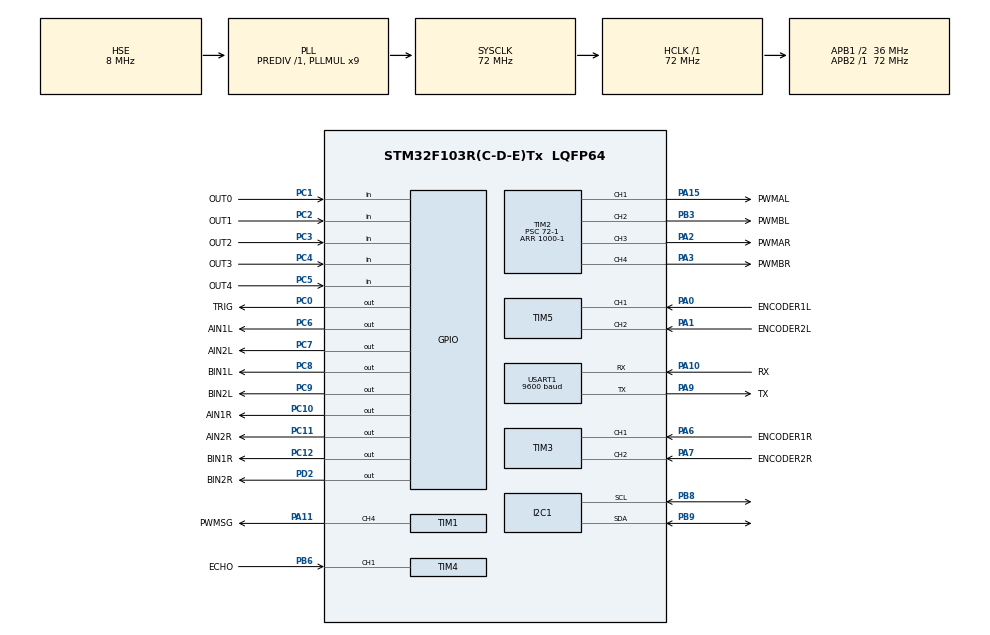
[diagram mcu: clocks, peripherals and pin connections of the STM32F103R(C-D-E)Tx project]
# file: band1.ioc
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Dma.Request0=USART1_TX
Dma.USART1_TX.0.Direction=DMA_MEMORY_TO_PERIPH
Dma.USART1_TX.0.Instance=DMA1_Channel4
Dma.USART1_TX.0.MemDataAlignment=DMA_MDATAALIGN_WORD
Dma.USART1_TX.0.MemInc=DMA_MINC_DISABLE
Dma.USART1_TX.0.Mode=DMA_NORMAL
Dma.USART1_TX.0.PeriphDataAlignment=DMA_PDATAALIGN_WORD
Dma.USART1_TX.0.PeriphInc=DMA_PINC_DISABLE
Dma.USART1_TX.0.Priority=DMA_PRIORITY_LOW
I2C1.I2C_Mode=I2C_Fast
Mcu.Family=STM32F1
Mcu.Name=STM32F103R(C-D-E)Tx
Mcu.Package=LQFP64
NVIC.DMA1_Channel4_IRQn=true\:0\:0\:false\:false\:true\:false\:true\:true
NVIC.PriorityGroup=NVIC_PRIORITYGROUP_4
NVIC.TIM3_IRQn=true\:0\:0\:false\:false\:true\:true\:true\:true
NVIC.TIM4_IRQn=true\:0\:0\:false\:false\:true\:true\:true\:true
NVIC.TIM5_IRQn=true\:0\:0\:false\:false\:true\:true\:true\:true
NVIC.TIM6_IRQn=true\:0\:0\:false\:false\:true\:true\:true\:true
NVIC.TIM7_IRQn=true\:0\:0\:false\:false\:true\:true\:true\:true
NVIC.USART1_IRQn=true\:0\:0\:false\:false\:true\:true\:true\:true
PA0-WKUP.GPIO_Label=ENCODER1L
PA0-WKUP.GPIO_PuPd=GPIO_PULLUP
PA0-WKUP.Signal=S_TIM5_CH1
PA1.GPIO_Label=ENCODER2L
PA1.GPIO_PuPd=GPIO_PULLUP
PA1.Signal=S_TIM5_CH2
PA10.GPIO_Label=RX
PA10.Mode=Asynchronous
PA10.Signal=USART1_RX
PA11.GPIO_Label=PWMSG
PA11.GPIO_Speed=GPIO_SPEED_FREQ_HIGH
PA11.Signal=S_TIM1_CH4
PA13.Mode=Serial_Wire
PA13.Signal=SYS_JTMS-SWDIO
PA14.Mode=Serial_Wire
PA14.Signal=SYS_JTCK-SWCLK
PA15.GPIO_Label=PWMAL
PA15.Signal=S_TIM2_CH1_ETR
PA2.GPIO_Label=PWMAR
PA2.Signal=S_TIM2_CH3
PA3.GPIO_Label=PWMBR
PA3.Signal=S_TIM2_CH4
PA6.GPIO_Label=ENCODER1R
PA6.GPIO_PuPd=GPIO_PULLUP
PA6.Signal=S_TIM3_CH1
PA7.GPIO_Label=ENCODER2R
PA7.GPIO_PuPd=GPIO_PULLUP
PA7.Signal=S_TIM3_CH2
PA9.GPIO_Label=TX
PA9.Mode=Asynchronous
PA9.Signal=USART1_TX
PB3.GPIO_Label=PWMBL
PB3.Signal=S_TIM2_CH2
PB6.GPIO_Label=ECHO
PB6.Signal=S_TIM4_CH1
PB8.Mode=I2C
PB8.Signal=I2C1_SCL
PB9.Mode=I2C
PB9.Signal=I2C1_SDA
PC0.GPIO_Label=TRIG
PC0.GPIO_PuPd=GPIO_PULLDOWN
PC0.GPIO_Speed=GPIO_SPEED_FREQ_HIGH
PC0.PinState=GPIO_PIN_SET
PC0.Signal=GPIO_Output
PC1.GPIO_Label=OUT0
PC1.GPIO_PuPd=GPIO_PULLDOWN
PC1.Signal=GPIO_Input
PC10.GPIO_Label=AIN1R
PC10.GPIO_PuPd=GPIO_PULLDOWN
PC10.Signal=GPIO_Output
PC11.GPIO_Label=AIN2R
PC11.GPIO_PuPd=GPIO_PULLDOWN
PC11.Signal=GPIO_Output
PC12.GPIO_Label=BIN1R
PC12.GPIO_PuPd=GPIO_PULLDOWN
PC12.Signal=GPIO_Output
PC14-OSC32_IN.Mode=LSE-External-Oscillator
PC14-OSC32_IN.Signal=RCC_OSC32_IN
PC15-OSC32_OUT.Mode=LSE-External-Oscillator
PC15-OSC32_OUT.Signal=RCC_OSC32_OUT
PC2.GPIO_Label=OUT1
PC2.GPIO_PuPd=GPIO_PULLDOWN
PC2.Signal=GPIO_Input
PC3.GPIO_Label=OUT2
PC3.GPIO_PuPd=GPIO_PULLDOWN
PC3.Signal=GPIO_Input
PC4.GPIO_Label=OUT3
PC4.GPIO_PuPd=GPIO_PULLDOWN
PC4.Signal=GPIO_Input
PC5.GPIO_Label=OUT4
PC5.GPIO_PuPd=GPIO_PULLDOWN
PC5.Signal=GPIO_Input
PC6.GPIO_Label=AIN1L
PC6.GPIO_PuPd=GPIO_PULLDOWN
PC6.Signal=GPIO_Output
PC7.GPIO_Label=AIN2L
PC7.GPIO_PuPd=GPIO_PULLDOWN
PC7.Signal=GPIO_Output
PC8.GPIO_Label=BIN1L
PC8.GPIO_PuPd=GPIO_PULLDOWN
PC8.Signal=GPIO_Output
PC9.GPIO_Label=BIN2L
PC9.GPIO_PuPd=GPIO_PULLDOWN
PC9.Signal=GPIO_Output
PD0-OSC_IN.Mode=HSE-External-Oscillator
PD0-OSC_IN.Signal=RCC_OSC_IN
PD1-OSC_OUT.Mode=HSE-External-Oscillator
PD1-OSC_OUT.Signal=RCC_OSC_OUT
PD2.GPIO_Label=BIN2R
PD2.GPIO_PuPd=GPIO_PULLDOWN
PD2.Signal=GPIO_Output
ProjectManager.HeapSize=0x200
ProjectManager.StackSize=0x400
ProjectManager.TargetToolchain=MDK-ARM V5.32
RCC.AHBFreq_Value=72000000
RCC.APB1CLKDivider=RCC_HCLK_DIV2
RCC.APB1Freq_Value=36000000
RCC.APB1TimFreq_Value=72000000
RCC.APB2Freq_Value=72000000
RCC.APB2TimFreq_Value=72000000
RCC.HCLKFreq_Value=72000000
RCC.PLLMUL=RCC_PLL_MUL9
RCC.PLLSourceVirtual=RCC_PLLSOURCE_HSE
RCC.SYSCLKFreq_VALUE=72000000
RCC.SYSCLKSource=RCC_SYSCLKSOURCE_PLLCLK
RCC.USBFreq_Value=72000000
SH.S_TIM1_CH4.0=TIM1_CH4,PWM Generation4 CH4
SH.S_TIM2_CH1_ETR.0=TIM2_CH1,PWM Generation1 CH1
SH.S_TIM2_CH2.0=TIM2_CH2,PWM Generation2 CH2
SH.S_TIM2_CH3.0=TIM2_CH3,PWM Generation3 CH3
SH.S_TIM2_CH4.0=TIM2_CH4,PWM Generation4 CH4
SH.S_TIM3_CH1.0=TIM3_CH1,Encoder_Interface
SH.S_TIM3_CH2.0=TIM3_CH2,Encoder_Interface
SH.S_TIM4_CH1.0=TIM4_CH1,Input_Capture1_from_TI1
SH.S_TIM5_CH1.0=TIM5_CH1,Encoder_Interface
SH.S_TIM5_CH2.0=TIM5_CH2,Encoder_Interface
TIM1.AutoReloadPreload=TIM_AUTORELOAD_PRELOAD_ENABLE
TIM1.Channel-PWM\ Generation4\ CH4=TIM_CHANNEL_4
TIM1.Period=7200-1
TIM1.Prescaler=200-1
TIM2.AutoReloadPreload=TIM_AUTORELOAD_PRELOAD_ENABLE
TIM2.Channel-PWM\ Generation1\ CH1=TIM_CHANNEL_1
TIM2.Channel-PWM\ Generation2\ CH2=TIM_CHANNEL_2
TIM2.Channel-PWM\ Generation3\ CH3=TIM_CHANNEL_3
TIM2.Channel-PWM\ Generation4\ CH4=TIM_CHANNEL_4
TIM2.Period=1000-1
TIM2.Prescaler=72-1
TIM3.AutoReloadPreload=TIM_AUTORELOAD_PRELOAD_ENABLE
TIM3.EncoderMode=TIM_ENCODERMODE_TI12
TIM3.IC1Filter=6
TIM3.IC1Polarity=TIM_ICPOLARITY_RISING
TIM3.IC2Filter=6
TIM3.IC2Polarity=TIM_ICPOLARITY_RISING
TIM4.AutoReloadPreload=TIM_AUTORELOAD_PRELOAD_ENABLE
TIM4.Channel-Input_Capture1_from_TI1=TIM_CHANNEL_1
TIM4.Prescaler=72-1
TIM5.AutoReloadPreload=TIM_AUTORELOAD_PRELOAD_ENABLE
TIM5.EncoderMode=TIM_ENCODERMODE_TI12
TIM5.IC1Filter=6
TIM5.IC2Filter=6
TIM6.AutoReloadPreload=TIM_AUTORELOAD_PRELOAD_ENABLE
TIM6.Period=10000-1
TIM6.Prescaler=7200-1
TIM6.TIM_MasterOutputTrigger=TIM_TRGO_UPDATE
TIM7.AutoReloadPreload=TIM_AUTORELOAD_PRELOAD_ENABLE
TIM7.Period=1000-1
TIM7.Prescaler=720-1
TIM7.TIM_MasterOutputTrigger=TIM_TRGO_UPDATE
USART1.BaudRate=9600
USART1.VirtualMode=VM_ASYNC
VP_TIM1_VS_ClockSourceINT.Mode=Internal
VP_TIM2_VS_ClockSourceINT.Mode=Internal
VP_TIM4_VS_ClockSourceINT.Mode=Internal
VP_TIM6_VS_ClockSourceINT.Mode=Enable_Timer
VP_TIM7_VS_ClockSourceINT.Mode=Enable_Timer
board=custom

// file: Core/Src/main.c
/* USER CODE BEGIN Header */
/**
  ******************************************************************************
  * @file           : main.c
  * @brief          : Main program body
  ******************************************************************************
  * @attention
  *
  * Copyright (c) 2024 STMicroelectronics.
  * All rights reserved.
  *
  * This software is licensed under terms that can be found in the LICENSE file
  * in the root directory of this software component.
  * If no LICENSE file comes with this software, it is provided AS-IS.
  *
  ******************************************************************************
  */
/* USER CODE END Header */
#include "main.h"
#include "dma.h"
#include "i2c.h"
#include "tim.h"
#include "usart.h"
#include "gpio.h"

/* USER CODE BEGIN Includes */
#include "oled.h"
#include "range.h"//测距和避�?
#include "follow.h"//循迹
#include "motor.h"//速度pid
#include "encoder.h"
#include "stdio.h"
#include "redirect.h"
#include "pid.h"
#include "math.h"
/* USER CODE END Includes */

/* USER CODE BEGIN PV */
extern float distances;
extern  uint8_t c_values;
extern uint8_t test;
extern ENCODER measure;
extern PIDController motor_pid;
extern follow statu;//循迹函数的参数，里面有各个传感器的状�?
float left_setpoint;
float right_setpoint;
/* USER CODE END PV */

void SystemClock_Config(void);

int main(void)
{

  /* MCU Configuration--------------------------------------------------------*/

  /* Reset of all peripherals, Initializes the Flash interface and the Systick. */
  HAL_Init();

  /* USER CODE BEGIN Init */
OLED_Init(&hi2c1);
  /* USER CODE END Init */

  /* Configure the system clock */
  SystemClock_Config();

  /* Initialize all configured peripherals */
  MX_GPIO_Init();
  MX_DMA_Init();
  MX_I2C1_Init();
  MX_TIM4_Init();
  MX_TIM6_Init();
  MX_TIM2_Init();
  MX_TIM3_Init();
  MX_TIM5_Init();
  MX_TIM7_Init();
  MX_USART1_UART_Init();
  MX_TIM1_Init();
  /* USER CODE BEGIN 2 */
OLED_Clear();
OLED_Display_On();
HAL_TIM_Base_Start_IT(&htim6);//测距的时�?
MOTOR_init();
ENCODER_init();
SG90_init();
PID_init();//先调节P参数
//left_setpoint=5;
//right_setpoint=5;
//OLED_ShowString(0,6,"test",4,0);
//OLED_ShowString(0,0,"Distance: ",9,0);
  /* USER CODE END 2 */

  /* Infinite loop */
  while (1)
  {

    /* USER CODE BEGIN 3 */
    //OLED_Showdecimal(12,0,distances,2,2,16,0);
    //OLED_Showdecimal(0,4,RANGE_AcquireData(),2,2,16,0);
    //OLED_ShowNum(7,6,test,5,16,0);
    //RANGE_Alarm(RANGE_AcquireData());
    //OLED_Showdecimal(60,6,measure.left_speed,2,2,16,0);
    //__HAL_TIM_SET_COMPARE(&htim2,TIM_CHANNEL_3,500);
    //__HAL_TIM_SET_COMPARE(&htim2,TIM_CHANNEL_4,500);
   // printf("%f\n",measure.left_speed);
    //printf("%f\n",measure.left_speed);
    //RANGE_avoid();
    FOLLOW_Start(&statu);
    //SG90_right();
   //printf("%f\n",motor_pid.out);
    //printf("%d\n",test);//放在while循环中会对时序产生的影响比较�??
    //RANGE_avoid();
    //FOLLOW_Start(&statu);
    //HAL_Delay(1000);
   // printf("%d\n",test);
    //HAL_UART_Transmit_DMA(&huart1,(uint8_t*)&distances,1);
//float t1=0,t2=0;
//t1 += 0.1;
//t2 += 0.5;
//printf("simples:%f, %f\n", sin(t1), sin(t2));
//HAL_Delay(100);
  }
  /* USER CODE END 3 */
}

void SystemClock_Config(void)
{
  RCC_OscInitTypeDef RCC_OscInitStruct = {0};
  RCC_ClkInitTypeDef RCC_ClkInitStruct = {0};

  /** Initializes the RCC Oscillators according to the specified parameters
  * in the RCC_OscInitTypeDef structure.
  */
  RCC_OscInitStruct.OscillatorType = RCC_OSCILLATORTYPE_HSE;
  RCC_OscInitStruct.HSEState = RCC_HSE_ON;
  RCC_OscInitStruct.HSEPredivValue = RCC_HSE_PREDIV_DIV1;
  RCC_OscInitStruct.HSIState = RCC_HSI_ON;
  RCC_OscInitStruct.PLL.PLLState = RCC_PLL_ON;
  RCC_OscInitStruct.PLL.PLLSource = RCC_PLLSOURCE_HSE;
  RCC_OscInitStruct.PLL.PLLMUL = RCC_PLL_MUL9;
  if (HAL_RCC_OscConfig(&RCC_OscInitStruct) != HAL_OK)
  {
    Error_Handler();
  }

  /** Initializes the CPU, AHB and APB buses clocks
  */
  RCC_ClkInitStruct.ClockType = RCC_CLOCKTYPE_HCLK|RCC_CLOCKTYPE_SYSCLK
                              |RCC_CLOCKTYPE_PCLK1|RCC_CLOCKTYPE_PCLK2;
  RCC_ClkInitStruct.SYSCLKSource = RCC_SYSCLKSOURCE_PLLCLK;
  RCC_ClkInitStruct.AHBCLKDivider = RCC_SYSCLK_DIV1;
  RCC_ClkInitStruct.APB1CLKDivider = RCC_HCLK_DIV2;
  RCC_ClkInitStruct.APB2CLKDivider = RCC_HCLK_DIV1;

  if (HAL_RCC_ClockConfig(&RCC_ClkInitStruct, FLASH_LATENCY_2) != HAL_OK)
  {
    Error_Handler();
  }
}

/* USER CODE BEGIN 4 */
//中断回调函数
void HAL_TIM_PeriodElapsedCallback(TIM_HandleTypeDef *htim)
{

	if(htim==&htim6)                      //判断是否为TIM3溢出中断
	{
		TRIG_OFF;                         //先将超声波模块SR04的发送端TRIG拉低
		TRIG_ON;                          //再将超声波模块SR04的发送端TRIG拉高，并且持�????20ms后再拉低
		delay_us(20);
		TRIG_OFF;
		__HAL_TIM_SET_CAPTUREPOLARITY(&htim4,TIM_CHANNEL_1,TIM_ICPOLARITY_RISING);//设置为上升沿捕获
		HAL_TIM_IC_Start_IT(&htim4,TIM_CHANNEL_1);//�????启定时器输入捕获
		//d_values=0;
		//test++;

	}
	if(htim==&htim7)
		{
			//test++;
     // HAL_UART_Transmit_DMA(&huart1,(uint8_t*)&distances,1);//无法在串口调试助手中显示�??10进制，只能显示为16进制
      //printf("%f\n",distances);//会对时序产生很大的影�??
      //REDIRECT_printf("hello world\n");//感觉还是不可
			measure.ENCODERL_count=(short)__HAL_TIM_GET_COUNTER(&htim5);
			measure.ENCODERR_count=(short)__HAL_TIM_GET_COUNTER(&htim3);
      measure.ENCODERR_count=-measure.ENCODERR_count;
			__HAL_TIM_SET_COUNTER(&htim5,0);
			__HAL_TIM_SET_COUNTER(&htim3,0);
			measure.left_speed=(float)measure.ENCODERL_count*100/20/11/4;
			measure.right_speed=(float)measure.ENCODERR_count*100/20/11/4;
      //位置PID
     // test++;
      //MOTOR_Speed(0,800);
      MOTOR_Speed((int )PID_update(&motor_pid,left_setpoint,measure.left_speed),(int)PID_update(&motor_pid,right_setpoint,measure.right_speed));
		}

}
int fputc(int ch,FILE *f)
{
   //HAL_UART_Transmit_DMA(&huart1,(uint8_t *)&ch,1);
  HAL_UART_Transmit(&huart1,(uint8_t *)&ch,1,0xFFFF);
  return ch;
}

/* USER CODE END 4 */

void Error_Handler(void)
{
  __disable_irq();
  while (1)
  {
  }
}
